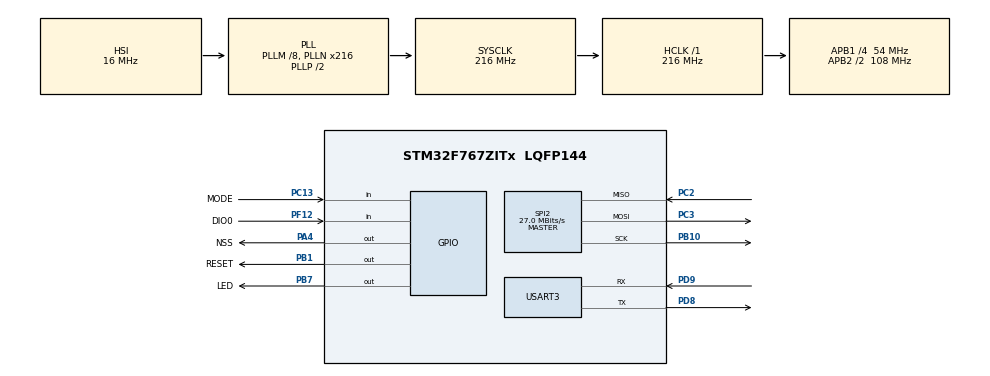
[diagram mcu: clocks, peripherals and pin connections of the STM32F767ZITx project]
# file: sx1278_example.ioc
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Mcu.Family=STM32F7
PC3.Mode=Full_Duplex_Master
RCC.CortexFreq_Value=216000000
SPI2.VirtualType=VM_MASTER
PB10.Mode=Full_Duplex_Master
PC13.Signal=GPIO_Input
PC2.Signal=SPI2_MISO
PC2.Mode=Full_Duplex_Master
PD9.Signal=USART3_RX
PC13.GPIO_Label=MODE
RCC.APB1CLKDivider=RCC_HCLK_DIV4
PD9.Mode=Asynchronous
RCC.SYSCLKSource=RCC_SYSCLKSOURCE_PLLCLK
ProjectManager.StackSize=0x400
USART3.VirtualMode-Asynchronous=VM_ASYNC
PA13.Signal=SYS_JTMS-SWDIO
PA4.PinState=GPIO_PIN_SET
ProjectManager.TargetToolchain=STM32CubeIDE
RCC.HCLKFreq_Value=216000000
RCC.APB2TimFreq_Value=216000000
PF12.Signal=GPIO_Input
PC3.Signal=SPI2_MOSI
PD8.Signal=USART3_TX
RCC.USBFreq_Value=216000000
RCC.LSE_VALUE=32768
PD8.Mode=Asynchronous
RCC.AHBFreq_Value=216000000
SPI2.BaudRatePrescaler=SPI_BAUDRATEPRESCALER_2
PB10.Signal=SPI2_SCK
RCC.HSE_VALUE=25000000
board=custom
RCC.VCOOutputFreq_Value=432000000
PF12.GPIO_Label=DIO0
RCC.APB2Freq_Value=108000000
PA14.Mode=Serial_Wire
PB1.GPIO_Label=RESET
SPI2.CalculateBaudRate=27.0 MBits/s
PB7.Signal=GPIO_Output
PA13.Mode=Serial_Wire
Mcu.Name=STM32F767ZITx
PB1.PinState=GPIO_PIN_SET
PB7.GPIO_Label=LED
PA4.Signal=GPIO_Output
RCC.SYSCLKFreq_VALUE=216000000
Mcu.Package=LQFP144
PB1.Signal=GPIO_Output
SPI2.Mode=SPI_MODE_MASTER
PA14.Signal=SYS_JTCK-SWCLK
ProjectManager.HeapSize=0x200
RCC.HSI_VALUE=16000000
NVIC.PriorityGroup=NVIC_PRIORITYGROUP_4
RCC.APB2CLKDivider=RCC_HCLK_DIV2
RCC.PLLM=8
RCC.PLLN=216
RCC.APB1TimFreq_Value=108000000
SPI2.Direction=SPI_DIRECTION_2LINES
RCC.APB1Freq_Value=54000000
PA4.GPIO_Label=NSS

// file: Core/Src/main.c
/* USER CODE BEGIN Header */
/**
  ******************************************************************************
  * @file           : main.c
  * @brief          : Main program body
  ******************************************************************************
  * @attention
  *
  * <h2><center>&copy; Copyright (c) 2022 STMicroelectronics.
  * All rights reserved.</center></h2>
  *
  * This software component is licensed by ST under BSD 3-Clause license,
  * the "License"; You may not use this file except in compliance with the
  * License. You may obtain a copy of the License at:
  *                        opensource.org/licenses/BSD-3-Clause
  *
  ******************************************************************************
  */
/* USER CODE END Header */
#include "main.h"
#include "spi.h"
#include "usart.h"
#include "gpio.h"

/* USER CODE BEGIN Includes */
#include <stdio.h>
#include "SX1278.h"
/* USER CODE END Includes */

/* USER CODE BEGIN PV */
char str[64];
/* USER CODE END PV */

void SystemClock_Config(void);
/* USER CODE BEGIN PFP */
int _write(int file, char *ptr, int len) {
	int i;
	HAL_UART_Transmit(&huart3, (uint8_t*) ptr, len, 50);
	for (i = 0; i < len; i++) {
		ITM_SendChar(*ptr++);
	}
	return len;
}

/* USER CODE END PFP */

/* USER CODE BEGIN 0 */
SX1278_hw_t SX1278_hw;
SX1278_t SX1278;

int master;
int ret;

char buffer[512];

int message;
int message_length;

/* USER CODE END 0 */

int main(void)
{

  /* MCU Configuration--------------------------------------------------------*/

  /* Reset of all peripherals, Initializes the Flash interface and the Systick. */
  HAL_Init();

  /* Configure the system clock */
  SystemClock_Config();

  /* Initialize all configured peripherals */
  MX_GPIO_Init();
  MX_SPI2_Init();
  MX_USART3_UART_Init();
  /* USER CODE BEGIN 2 */
	master = HAL_GPIO_ReadPin(MODE_GPIO_Port, MODE_Pin);
	if (master == 1) {
		UART_puts("Mode: Master\r\n");
		HAL_GPIO_WritePin(MODE_GPIO_Port, MODE_Pin, GPIO_PIN_RESET);
	} else {
		UART_puts("Mode: Slave\r\n");
		HAL_GPIO_WritePin(MODE_GPIO_Port, MODE_Pin, GPIO_PIN_SET);
	}

	//initialize LoRa module
	SX1278_hw.dio0.port = DIO0_GPIO_Port;
	SX1278_hw.dio0.pin = DIO0_Pin;
	SX1278_hw.nss.port = NSS_GPIO_Port;
	SX1278_hw.nss.pin = NSS_Pin;
	SX1278_hw.reset.port = RESET_GPIO_Port;
	SX1278_hw.reset.pin = RESET_Pin;
	SX1278_hw.spi = &hspi2;

	SX1278.hw = &SX1278_hw;

	UART_puts("Configuring LoRa module\r\n");
	SX1278_init(&SX1278, 434000000, SX1278_POWER_17DBM, SX1278_LORA_SF_7,
	SX1278_LORA_BW_125KHZ, SX1278_LORA_CR_4_5, SX1278_LORA_CRC_EN, 10);
	UART_puts("Done configuring LoRaModule\r\n");

	if (master == 1) {
		ret = SX1278_LoRaEntryTx(&SX1278, 16, 2000);
		HAL_GPIO_WritePin(LED_GPIO_Port, LED_Pin, GPIO_PIN_SET);
	} else {
		ret = SX1278_LoRaEntryRx(&SX1278, 16, 2000);
		HAL_GPIO_WritePin(LED_GPIO_Port, LED_Pin, GPIO_PIN_RESET);
	}
  /* USER CODE END 2 */

  /* Infinite loop */
  /* USER CODE BEGIN WHILE */
  while (1)
  {
	  if (master == 1)
	  {
			UART_puts("Master ...\r\n");
			HAL_Delay(1000);
			UART_puts("Sending package...\r\n");

			message_length = sprintf(buffer, "Hello %d", message);
			ret = SX1278_LoRaEntryTx(&SX1278, message_length, 2000);

			snprintf(str, sizeof(str), "Entry: %d\r\n", ret);
			UART_puts(str);

			snprintf(str, sizeof(str), "Sending %s\r\n", buffer);
			UART_puts(str);
			ret = SX1278_LoRaTxPacket(&SX1278, (uint8_t*) buffer,
					message_length, 2000);
			message += 1;

			snprintf(str, sizeof(str), "Transmission: %d\r\n", ret);
			UART_puts(str);
			UART_puts("Package sent...\r\n");

	  } else {
			UART_puts("Slave ...\r\n");
			HAL_Delay(800);
			UART_puts("Receiving package...\r\n");

			ret = SX1278_LoRaRxPacket(&SX1278);

			snprintf(str, sizeof(str), "Received: %d\r\n", ret);
			UART_puts(str);

			if (ret > 0) {
				SX1278_read(&SX1278, (uint8_t*) buffer, ret);

				snprintf(str, sizeof(str), "Content (%d): %s\r\n", ret, buffer);
				UART_puts(str);
			}
			UART_puts("Package received ...\r\n");
	  }

		//change mode
		if (GPIO_PIN_RESET == HAL_GPIO_ReadPin(MODE_GPIO_Port, MODE_Pin)) {
			UART_puts("Changing mode\r\n");
			master = ~master & 0x01;
			if (master == 1) {
				ret = SX1278_LoRaEntryTx(&SX1278, 16, 2000);
				HAL_GPIO_WritePin(LED_GPIO_Port, LED_Pin, GPIO_PIN_SET);
			} else {
				ret = SX1278_LoRaEntryRx(&SX1278, 16, 2000);
				HAL_GPIO_WritePin(LED_GPIO_Port, LED_Pin, GPIO_PIN_RESET);
			}
			HAL_Delay(1000);
			while (GPIO_PIN_RESET == HAL_GPIO_ReadPin(MODE_GPIO_Port, MODE_Pin))
				;
		}

    /* USER CODE END WHILE */

  }
}

void SystemClock_Config(void)
{
  RCC_OscInitTypeDef RCC_OscInitStruct = {0};
  RCC_ClkInitTypeDef RCC_ClkInitStruct = {0};
  RCC_PeriphCLKInitTypeDef PeriphClkInitStruct = {0};

  /** Configure the main internal regulator output voltage
  */
  __HAL_RCC_PWR_CLK_ENABLE();
  __HAL_PWR_VOLTAGESCALING_CONFIG(PWR_REGULATOR_VOLTAGE_SCALE1);
  /** Initializes the RCC Oscillators according to the specified parameters
  * in the RCC_OscInitTypeDef structure.
  */
  RCC_OscInitStruct.OscillatorType = RCC_OSCILLATORTYPE_HSI;
  RCC_OscInitStruct.HSIState = RCC_HSI_ON;
  RCC_OscInitStruct.HSICalibrationValue = RCC_HSICALIBRATION_DEFAULT;
  RCC_OscInitStruct.PLL.PLLState = RCC_PLL_ON;
  RCC_OscInitStruct.PLL.PLLSource = RCC_PLLSOURCE_HSI;
  RCC_OscInitStruct.PLL.PLLM = 8;
  RCC_OscInitStruct.PLL.PLLN = 216;
  RCC_OscInitStruct.PLL.PLLP = RCC_PLLP_DIV2;
  RCC_OscInitStruct.PLL.PLLQ = 2;
  if (HAL_RCC_OscConfig(&RCC_OscInitStruct) != HAL_OK)
  {
    Error_Handler();
  }
  /** Activate the Over-Drive mode
  */
  if (HAL_PWREx_EnableOverDrive() != HAL_OK)
  {
    Error_Handler();
  }
  /** Initializes the CPU, AHB and APB buses clocks
  */
  RCC_ClkInitStruct.ClockType = RCC_CLOCKTYPE_HCLK|RCC_CLOCKTYPE_SYSCLK
                              |RCC_CLOCKTYPE_PCLK1|RCC_CLOCKTYPE_PCLK2;
  RCC_ClkInitStruct.SYSCLKSource = RCC_SYSCLKSOURCE_PLLCLK;
  RCC_ClkInitStruct.AHBCLKDivider = RCC_SYSCLK_DIV1;
  RCC_ClkInitStruct.APB1CLKDivider = RCC_HCLK_DIV4;
  RCC_ClkInitStruct.APB2CLKDivider = RCC_HCLK_DIV2;

  if (HAL_RCC_ClockConfig(&RCC_ClkInitStruct, FLASH_LATENCY_7) != HAL_OK)
  {
    Error_Handler();
  }
  PeriphClkInitStruct.PeriphClockSelection = RCC_PERIPHCLK_USART3;
  PeriphClkInitStruct.Usart3ClockSelection = RCC_USART3CLKSOURCE_PCLK1;
  if (HAL_RCCEx_PeriphCLKConfig(&PeriphClkInitStruct) != HAL_OK)
  {
    Error_Handler();
  }
}

void Error_Handler(void)
{
  __disable_irq();
  while (1)
  {
  }
}

#ifdef  USE_FULL_ASSERT
/**
  * @brief  Reports the name of the source file and the source line number
  *         where the assert_param error has occurred.
  * @param  file: pointer to the source file name
  * @param  line: assert_param error line source number
  * @retval None
  */
void assert_failed(uint8_t *file, uint32_t line)
{
  /* USER CODE BEGIN 6 */
  /* User can add his own implementation to report the file name and line number,
     ex: UART_puts("Wrong parameters value: file %s on line %d\r\n", file, line) */
  /* USER CODE END 6 */
}
#endif /* USE_FULL_ASSERT */

/************************ (C) COPYRIGHT STMicroelectronics *****END OF FILE****/
